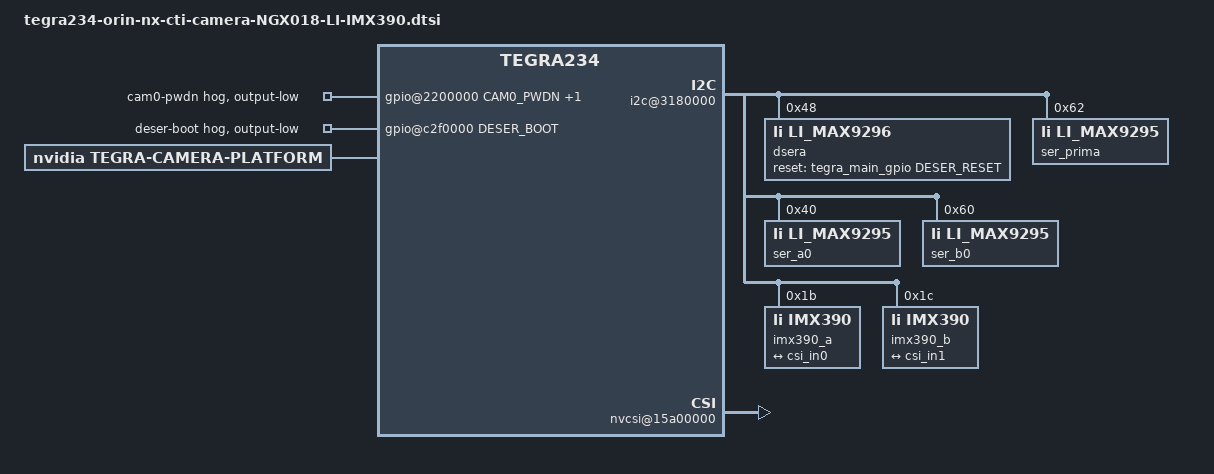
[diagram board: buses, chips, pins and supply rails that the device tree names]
/*
 * Copyright (c) 2022, Connect Tech Inc.  All rights reserved.
 *
 * This program is free software; you can redistribute it and/or modify it
 * under the terms and conditions of the GNU General Public License,
 * version 2, as published by the Free Software Foundation.
 *
 * This program is distributed in the hope it will be useful, but WITHOUT
 * ANY WARRANTY; without even the implied warranty of MERCHANTABILITY or
 * FITNESS FOR A PARTICULAR PURPOSE.  See the GNU General Public License for
 * more details.
 *
 * You should have received a copy of the GNU General Public License
 * along with this program.  If not, see <http://www.gnu.org/licenses/>.
 */

//#include "tegra234-orin-agx-cti-csi.dtsi"
#include "dt-bindings/clock/tegra234-clock.h"

// #define RST_IO_EXP 			TEGRA234_MAIN_GPIO(AC,1)
// #define PWM_CALIB_GPIO 		TEGRA234_MAIN_GPIO(H,7) //CAM0_PWDN
// #define TRIGGER_SEL 		TEGRA234_MAIN_GPIO(I,0) //CAM0_RST
// #define PWR_EN				TEGRA234_MAIN_GPIO(AC, 7)

#define CAM0_PWDN	TEGRA234_MAIN_GPIO(H, 6)
// trig 	- 	GPIO3 PR.00 	- 	MFP7
// reset 	- 	GPIO3 PQ.05 	- 	MFP8
// boot 	- 	GPIO3 PCC.03 	- 	MFP9
// int 		- 	GPIO3 PCC.01 	- 	MFP10
#define DESER_RESET TEGRA234_MAIN_GPIO(Q, 5)
#define DESER_TRIG  TEGRA234_MAIN_GPIO(R, 0)
#define DESER_BOOT  TEGRA234_AON_GPIO(CC, 3)
#define DESER_INT   TEGRA234_AON_GPIO(CC, 1)

#define CAM_LANES 	4
#define CAM_LANES_STRING "4"
#define MODE_VC "0"
#define SERDES_PIX_CLK_HZ "480000000" 
//"590000000"

                                        
#define IMX390_MODE0 \
		mclk_khz = "24000"; \
		discontinuous_clk = "no"; \
		dpcm_enable = "false"; \
		cil_settletime = "0"; \
		dynamic_pixel_bit_depth = "12"; \
		csi_pixel_bit_depth = "12"; \
		mode_type = "bayer"; \
		pixel_phase = "rggb"; \
		active_w = "1920"; \
		active_h = "1080"; \
		readout_orientation = "0"; \
		line_length = "2200"; \
		inherent_gain = "1"; \
		pix_clk_hz = "74250000"; \
		serdes_pix_clk_hz = SERDES_PIX_CLK_HZ; \
		gain_factor = "10"; \
		min_gain_val = "0";  \
		max_gain_val = "300"; \
		step_gain_val = "3"; \
		default_gain = "0"; \
		min_hdr_ratio = "1"; \
		max_hdr_ratio = "1"; \
		framerate_factor = "1000000"; \
		min_framerate = "30000000"; \
		max_framerate = "30000000"; \
		step_framerate = "1"; \
		default_framerate = "30000000"; \
		exposure_factor = "1000000"; \
		min_exp_time = "118"; \
		max_exp_time = "33333"; \
		step_exp_time = "1"; \
		default_exp_time = "33333"; \
		embedded_metadata_height = "0"; \


//serdes_pix_clk_hz = "299000000"; //orig val

/ {

	gpio@2200000 {
		status = "okay";
		camera-control-output-low {
			gpio-hog;
			output-low;
			gpios = <CAM0_PWDN 0 DESER_RESET 0>;
			label = "cam0-pwdn", "deser-reset";
			status = "okay";
		};
	};

	gpio@c2f0000 {
		status = "okay";
		camera-control-output-low-aon {
			gpio-hog;
			output-low;
			gpios = <DESER_BOOT 0>;
			label = "deser-boot";
			status = "okay";
		};
	};

    i2c@3180000 {
		status = "okay";
		#address-cells = <1>;
		#size-cells = <0>;

		dsera: li_max9296@48 {
			compatible = "li,li_max9296";
			reg = <0x48>;
			csi-mode = "2x4";
			max-src = <2>;
			status = "okay";
			reset-gpios = <&tegra_main_gpio DESER_RESET GPIO_ACTIVE_HIGH>;
		};
		ser_prima: li_max9295_prim@62 {
			compatible = "li,li_max9295";
			reg = <0x62>;
			is-prim-ser;
			status = "okay";
		};
		ser_a0: li_max9295_a@40 {
			compatible = "li,li_max9295";
			reg = <0x40>;
			nvidia,gmsl-dser-device = <&dsera>;
			status = "okay";
		};
		ser_b0: li_max9295_b@60 {
			compatible = "li,li_max9295";
			reg = <0x60>;
			nvidia,gmsl-dser-device = <&dsera>;
			status = "okay";
		};
		imx390_a@1b {
			def-addr = <0x21>;
			clocks = <&bpmp_clks TEGRA234_CLK_EXTPERIPH1>, <&bpmp_clks TEGRA234_CLK_EXTPERIPH1>;
			clock-names = "extperiph1", "pllp_grtba";
			mclk = "extperiph1";
			nvidia,gmsl-ser-device = <&ser_a0>;
			nvidia,gmsl-dser-device = <&dsera>;
			compatible = "li,imx390";
			reg = <0x1b>;
			reg_mux = <0>;

			physical_w = "15.0";
			physical_h = "12.5";
			sensor_model = "imx390";
			post_crop_frame_drop = "0";
			use_decibel_gain = "true";
			use_sensor_mode_id = "true";

			status = "okay";
			
			mode0 {
				IMX390_MODE0
				lane_polarity = "6";
				tegra_sinterface = "serial_a";
				num_lanes = "4";
				//mode_lanes = <4>;
				vc_id = "0";
			};

			ports {
				#address-cells = <1>;
				#size-cells = <0>;
				port@0{
					reg = <0>;
					cam_out0: endpoint {
						vc-id = <0>;
						port-index = <0>;
						bus-width = <CAM_LANES>;
						remote-endpoint = <&csi_in0>;

					};
				};
			};
			gmsl-link {
				src-csi-port = "b";
				dst-csi-port = "a";
				serdes-csi-link = "a";
				csi-mode = "1x4";
				st-vc = <0>;
				vc-id = <0>;
				num-lanes = <CAM_LANES>;
				streams = "ued-u1","raw12";

			};
		};
		imx390_b@1c {
			def-addr = <0x21>;
			clocks = <&bpmp_clks TEGRA234_CLK_EXTPERIPH1>, <&bpmp_clks TEGRA234_CLK_EXTPERIPH1>;
			clock-names = "extperiph1", "pllp_grtba";
			mclk = "extperiph1";
			compatible = "li,imx390";
			nvidia,gmsl-ser-device = <&ser_b0>;
			nvidia,gmsl-dser-device = <&dsera>;
			reg = <0x1c>;
			reg_mux = <0>;

			physical_w = "15.0";
			physical_h = "12.5";
			sensor_model = "imx390";
			post_crop_frame_drop = "0";
			use_decibel_gain = "true";
			use_sensor_mode_id = "true";

			status = "okay";
			mode0 {
				IMX390_MODE0
				lane_polarity = "0";
				tegra_sinterface = "serial_c";
				num_lanes = "4";
				//mode_lanes = <4>;
				vc_id = "1";
			};
			ports {
				#address-cells = <1>;
				#size-cells = <0>;
				port@0{
					reg = <0>;
					cam_out1: endpoint {
						vc-id = <0>;
						port-index = <2>;
						bus-width = <CAM_LANES>;
						remote-endpoint = <&csi_in1>;

					};
				};
			};
			gmsl-link {
				src-csi-port = "b";
				dst-csi-port = "b";
				serdes-csi-link = "b";
				csi-mode = "1x4";
				st-vc = <0>;
				vc-id = <1>;
				num-lanes = <CAM_LANES>;
				streams = "ued-u1","raw12";
			};
		};
    };
    
    tegra-capture-vi {
        status = "okay";
        num-channels = <2>;
        ports {
	    	#address-cells = <1>;
	    	#size-cells = <0>;
	    	status = "okay";
            port@0 {
			reg = <0>;
                status = "okay";
                vi_in0: endpoint {
		    		vc-id = <0>;
                    port-index = <0>;
                    status = "okay";
                    bus-width = <CAM_LANES>;
		    		remote-endpoint = <&csi_out0>;
                };
            };
            port@1 {
                status = "okay";
				reg = <1>;
                vi_in1: endpoint {
		    		vc-id = <1>;
                    port-index = <2>;
                    status = "okay";
                    bus-width = <CAM_LANES>;
		    		remote-endpoint = <&csi_out1>;
                };
            };
        };
    };

    host1x@13e00000 {
        nvcsi@15a00000 {
	    	num-channels = <2>;
	    	#address-cells = <1>;
	    	#size-cells = <0>;
            status = "okay";
            channel@0 {
                status = "okay";
				reg = <0>;
                ports {
		    		#address-cells = <1>;
		    		#size-cells = <0>;
                    port@0 {
                        status = "okay";
						reg = <0>;
                        csi_in0: endpoint@0 {
                            status = "okay";
                            port-index = <0>;
			    			vc-id = <0>;
			    			bus-width = <CAM_LANES>;
                            remote-endpoint = <&cam_out0>;
                        };
                    };
                    port@1 {
                        status = "okay";
						reg = <1>;
                        csi_out0: endpoint@1 {
                            status = "okay";
			    			port-index = <0>;
			    			vc-id = <0>;
			    			bus-width = <CAM_LANES>;
			    			remote-endpoint = <&vi_in0>;
                        };
                    };
                };
            };
            channel@1 {
                status = "okay";
				reg = <1>;
                ports {
		    		#address-cells = <1>;
		    		#size-cells = <0>;
                    
		    		port@0 {
						reg = <0>;
                		status = "okay";
                		csi_in1: endpoint@2 {
                            status = "okay";
			    			port-index = <2>;
			    			vc-id = <0>;
                            bus-width = <CAM_LANES>;
                            remote-endpoint = <&cam_out1>;
                        };
                    };
                    port@1 {
                        status = "okay";
						reg = <1>;
                        csi_out1: endpoint@3 {
                            status = "okay";
			    			port-index = <2>;
			    			vc-id = <1>;
			    			bus-width = <CAM_LANES>;
			    			remote-endpoint = <&vi_in1>;
                        };
                    };
                };
            };
        };
    };


    tegra-camera-platform {
        num_csi_lanes = <8>;
        max_lane_speed = <1500000>;
        min_bits_per_pixel = <10>;
        vi_peak_byte_per_pixel = <2>;
        vi_bw_margin_pct = <25>;
		max_pixel_rate = <240000>;
        isp_peak_byte_per_pixel = <5>;
        isp_bw_margin_pct = <25>;
		compatible = "nvidia, tegra-camera-platform";
		status = "okay";
        
		modules {
			status = "okay";
			module0 {
				status = "okay";
				badge = "imx390_bottomleft";
				position = "bottomleft";
				orientation = "1";
				drivernode0 {
					status = "okay";
					pcl_id = "v4l2_sensor";
					devname = "imx390 2-001b";
					proc-device-tree = "/proc/device-tree/i2c@3180000/imx390_a@1b";
				};
			};
			module1 {
				status = "okay";
				badge = "imx390_bottomright";
				position = "bottomright";
				orientation = "1";
				drivernode0 {
					status = "okay";
					pcl_id = "v4l2_sensor";
					devname = "imx390 2-001c";
					proc-device-tree = "/proc/device-tree/i2c@3180000/imx390_b@1c";
				};
			};		
        };
    };
};
